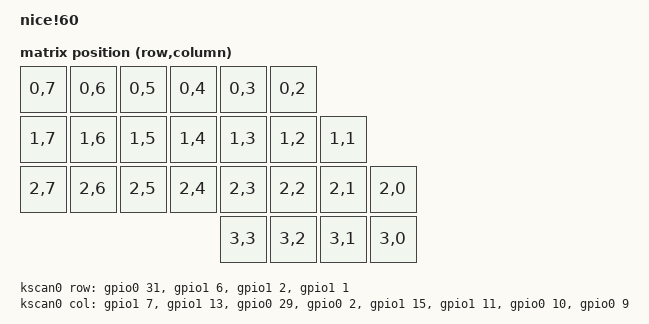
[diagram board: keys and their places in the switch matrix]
#include <dt-bindings/zmk/matrix_transform.h>

/ {
    model = "nice!60";
    compatible = "nice,60";

    chosen {
        zephyr,code-partition = &code_partition;
        zephyr,sram = &sram0;
        zephyr,flash = &flash0;
        zmk,battery = &vbatt;
        zmk,kscan = &kscan0;
        /*zmk,physical-layout = &layout_60_ansi;*/
        zmk,underglow = &led_strip;
    };
        default_transform: keymap_transform_0 {
        compatible = "zmk,matrix-transform";
        columns = <8>;
        rows = <4>;
        map = <
        RC(0,7) RC(0,6) RC(0,5) RC(0,4) RC(0,3) RC(0,2)
        RC(1,7) RC(1,6) RC(1,5) RC(1,4) RC(1,3) RC(1,2) RC(1,1)
        RC(2,7) RC(2,6) RC(2,5) RC(2,4) RC(2,3) RC(2,2) RC(2,1) RC(2,0)
                                        RC(3,3) RC(3,2) RC(3,1) RC(3,0)

        >;/*RC(fila,col)*/
    };

    kscan0: kscan {
        compatible = "zmk,kscan-gpio-matrix";
        wakeup-source;
        diode-direction = "col2row";
        row-gpios
            = <&gpio0 31  (GPIO_ACTIVE_HIGH | GPIO_PULL_DOWN)> /* fila 0 */
            , <&gpio1 6  (GPIO_ACTIVE_HIGH | GPIO_PULL_DOWN)> /* fila 1 */
            , <&gpio1 2 (GPIO_ACTIVE_HIGH | GPIO_PULL_DOWN)> /* fila 2 */
            , <&gpio1 1 (GPIO_ACTIVE_HIGH | GPIO_PULL_DOWN)> /* fila 3 */
            ;
        col-gpios
            = <&gpio1 7 GPIO_ACTIVE_HIGH> /* col 0 */
            , <&gpio1 13  GPIO_ACTIVE_HIGH> /* col 1 */
            , <&gpio0 29 GPIO_ACTIVE_HIGH> /* col 2 */
            , <&gpio0 2 GPIO_ACTIVE_HIGH> /* col 3 */
            , <&gpio1 15 GPIO_ACTIVE_HIGH> /* col 4 */
            , <&gpio1 11 GPIO_ACTIVE_HIGH> /* col 5 */
            , <&gpio0 10  GPIO_ACTIVE_HIGH> /* col 6 */
            , <&gpio0 9  GPIO_ACTIVE_HIGH> /* col 7 */
            ;
    };
};
